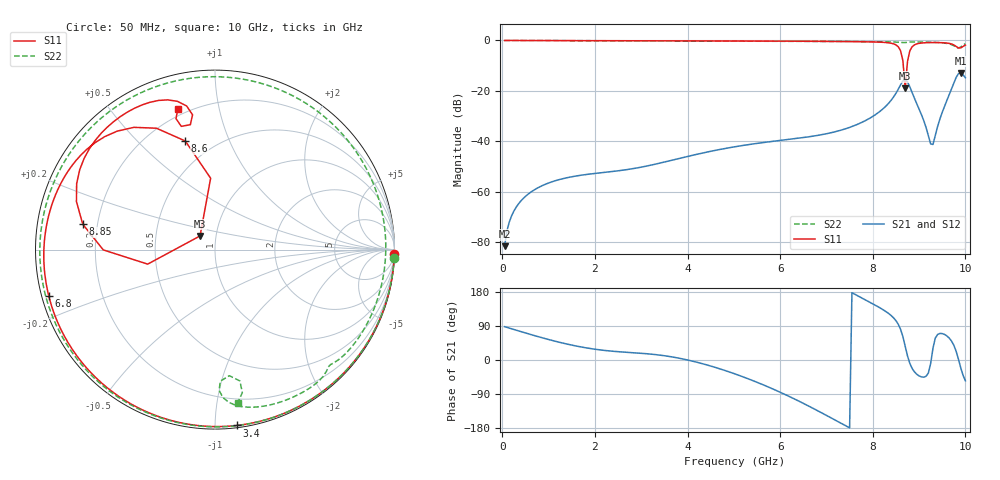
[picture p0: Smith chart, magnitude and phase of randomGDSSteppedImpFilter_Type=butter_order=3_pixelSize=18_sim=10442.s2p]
! freq	dB(S11)	phase(S11)	dB(S12)	phase(S12)
!  dB(S21)	phase(S21)	dB(S22)	phase(S22)
!S-par simulation data
#  GHz  S  DB  R 50
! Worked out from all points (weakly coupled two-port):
!   200 points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, 50 MHz to 10 GHz, reference 50 ohm
!   highest |S21| = -12.86 dB at 9.9 GHz (marker M1); lowest = -81.6 dB at 50 MHz (marker M2)
!   lowest |S11| = -19.0 dB at 8.7 GHz (marker M3), VSWR 1.25, Z = 41.9 + j6.46 ohm
!   |S11| at or under -10 dB: 8.659 GHz to 8.742 GHz (82.94 MHz wide, 0.953 % of centre)
!   |S22| runs from -3.0 to 0.0 dB; largest |S21 - S12| = 0
!   S11 on the Smith chart (normalised r, x): 50 MHz: 0, -90; 3.4 GHz: 0.01, -1.13; 6.8 GHz: 0.02, -0.14; 8.6 GHz: 0.35, +0.70; 8.85 GHz: 0.14, +0.09; 10 GHz: 0.17, +0.76
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0.05  -0.00 -1.3  -81.61 87.9  -81.61 87.9  -0.00 -2.5
0.2  -0.01 -5.1  -69.61 82.4  -69.61 82.4  -0.01 -10.1
0.5  -0.02 -12.6  -61.86 71.3  -61.86 71.3  -0.04 -25.1
1.75  -0.06 -43.6  -53.33 33.3  -53.33 33.3  -0.10 -85.3
2.5  -0.08 -61.7  -51.72 21.9  -51.72 21.9  -0.14 -119.3
3.4  -0.11 -82.9  -48.68 12.9  -48.68 12.9  -0.18 -159.0
4.2  -0.14 -101.4  -45.17 -5.8  -45.17 -5.8  -0.23 165.2
5.05  -0.19 -121.2  -42.09 -37.8  -42.09 -37.8  -0.28 125.3
5.85  -0.25 -140.2  -40.00 -76.8  -40.00 -76.8  -0.33 85.6
6.7  -0.33 -161.9  -38.00 -126.9  -38.00 -126.9  -0.37 42.7
6.8  -0.34 -164.6  -37.70 -133.2  -37.70 -133.2  -0.38 37.7
7.55  -0.45 173.3  -34.16 177.7  -34.16 177.7  -0.43 1.7
8.35  -0.96 138.3  -24.75 122.0  -24.75 122.0  -0.57 -33.5
8.6  -4.05 105.3  -17.63 81.1  -17.63 81.1  -0.77 -43.5
8.65  -7.99 93.5  -16.06 61.9  -16.06 61.9  -0.84 -44.9
8.7  -18.96 137.5  -15.44 36.5  -15.44 36.5  -0.83 -46.0
8.75  -8.32 -167.8  -16.39 10.7  -16.39 10.7  -0.73 -47.4
8.85  -2.50 169.1  -20.69 -22.3  -20.69 -22.3  -0.60 -51.7
9.3  -0.82 128.3  -41.26 31.3  -41.26 31.3  -0.74 -70.1
9.55  -0.94 113.8  -26.10 67.4  -26.10 67.4  -1.04 -80.5
9.9  -2.95 105.3  -12.86 -20.8  -12.86 -20.8  -2.56 -79.3
10  -1.83 104.8  -14.80 -54.8  -14.80 -54.8  -1.29 -81.6
